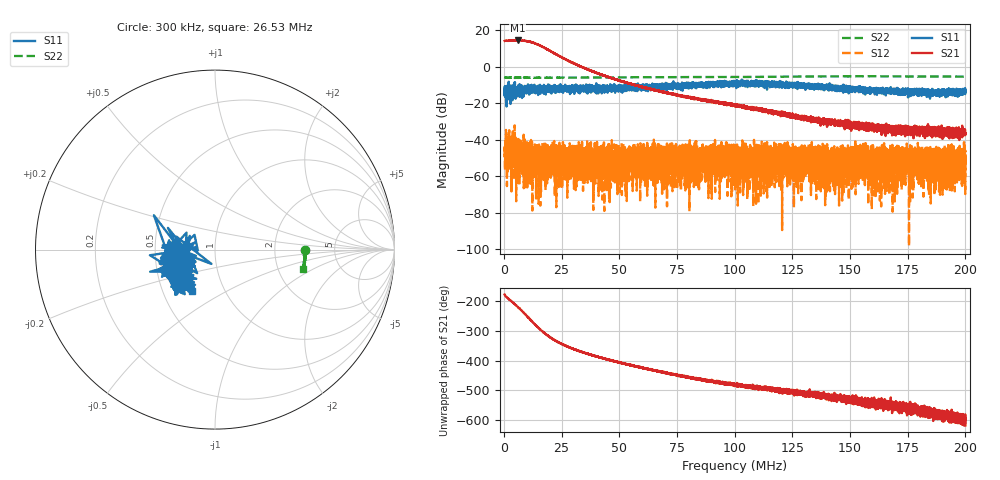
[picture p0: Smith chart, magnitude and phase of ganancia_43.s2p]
# Hz S DB R 50
! CMT, M5065, 19127446, 24.2.4/2
! Date: 11/8/2024 3:14:46 PM
! Data: Format (Calibration Info)
! Freq	S11:dB/Ang(F2)	S21:dB/Ang(F2)	S12:dB/Ang(F2)	S22:dB/Ang(F2)
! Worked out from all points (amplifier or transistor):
!   9000 points, 300 kHz to 200 MHz, reference 50 ohm
!   highest |S21| = 14.5 dB at 5.981 MHz (marker M1)
!   |S21| within 3 dB of that: start of sweep to 15.96 MHz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
!   unconditionally stable (mu >= 1): start of sweep to end of sweep
!   at 33.59 MHz: K = 156.93, MAG = 1.7 dB, |S12| = -53.3 dB
!   at 100.2 MHz: K = 2177.28, MAG = -19.2 dB, |S12| = -55.6 dB
!   at 200 MHz: K = 4700.04, MAG = -34.6 dB, |S12| = -46.6 dB
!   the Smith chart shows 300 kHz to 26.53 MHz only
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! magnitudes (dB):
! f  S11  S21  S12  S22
! 300 kHz  -13.3  14.3  -45.6  -6.0
! 4.294 MHz  -13.6  14.4  -47.4  -6.0
! 5.981 MHz  -15.0  14.5  -49.6  -6.0
! 14.1 MHz  -13.4  12.6  -49.0  -6.0
! 33.59 MHz  -11.3  0.1  -53.3  -5.9
! 50.76 MHz  -12.0  -7.8  -45.6  -5.7
! 52.83 MHz  -12.1  -8.6  -51.9  -5.8
! 55.58 MHz  -11.1  -9.6  -45.6  -5.7
! 66.87 MHz  -10.9  -13.1  -48.0  -5.7
! 100.2 MHz  -9.3  -21.1  -55.6  -5.6
! 133.4 MHz  -9.9  -29.1  -41.3  -5.3
! 150.4 MHz  -11.8  -31.7  -47.0  -5.2
! 155.7 MHz  -12.6  -33.4  -42.2  -5.2
! 162 MHz  -11.6  -33.3  -51.6  -5.2
! 166.7 MHz  -12.5  -33.9  -54.0  -5.2
! 168.9 MHz  -13.8  -33.0  -55.7  -5.2
! 174.5 MHz  -12.8  -35.6  -51.6  -5.2
! 176.5 MHz  -13.8  -33.3  -52.7  -5.2
! 183 MHz  -14.3  -34.9  -47.4  -5.3
! 191.9 MHz  -13.0  -34.6  -49.8  -5.3
! 199 MHz  -14.8  -35.5  -51.3  -5.4
! 200 MHz  -13.6  -36.3  -46.6  -5.3
